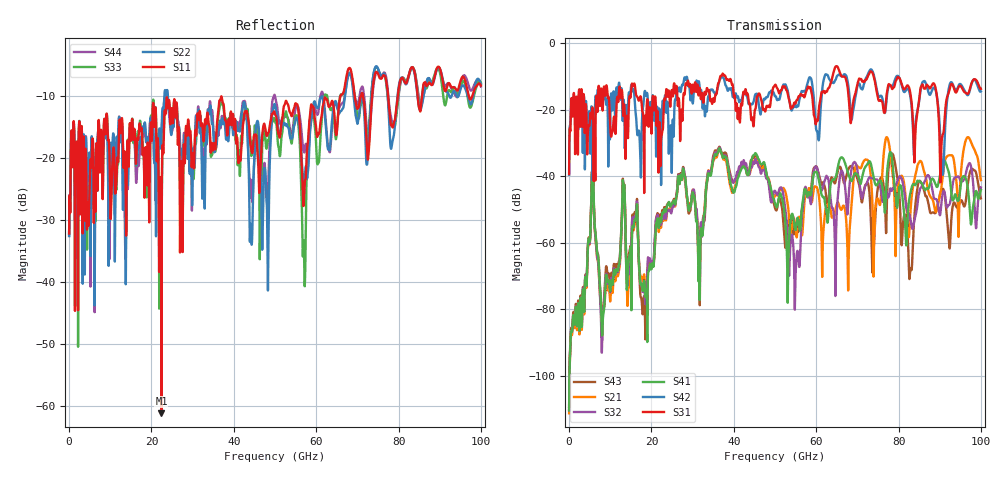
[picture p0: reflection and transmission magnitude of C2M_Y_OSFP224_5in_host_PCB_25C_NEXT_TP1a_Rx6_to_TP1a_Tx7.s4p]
# GHz S RI R 45
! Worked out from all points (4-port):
!   4000 points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, 25 MHz to 100 GHz, reference 45 ohm
!   strongest paths, dB at 25 MHz, 25.02 GHz, 50.02 GHz, 75.03 GHz, 100 GHz:
!     S31: -39.4, -14.3, -12.6, -16.6, -13.8
!     S42: -39.6, -29.2, -16.0, -15.6, -14.6
!     S41: -110.4, -48.3, -48.3, -42.1, -44.2
!     S32: -110.4, -49.7, -44.5, -41.4, -43.4
!     S21: -111.3, -49.6, -45.8, -46.9, -41.2
!     S43: -109.4, -48.1, -49.6, -43.2, -46.7
!   lowest |S11| = -61.1 dB at 22.43 GHz (marker M1), VSWR 1.00, Z = 45.1 + j0.03 ohm
!   |S11| at or under -10 dB: start of sweep to 65.91 GHz; 71.37 GHz to 73.59 GHz (2.22 GHz wide, 3.06 % of centre); 77.47 GHz to 79.82 GHz (2.352 GHz wide, 2.99 % of centre) (the widest 3 of 6)
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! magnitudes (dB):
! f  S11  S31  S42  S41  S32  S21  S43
! 25 MHz  -32.2  -39.4  -39.6  -110.4  -110.4  -111.3  -109.4
! 5.7 GHz  -16.9  -19.4  -41.3  -37.2  -37.2  -37.3  -37.1
! 8.2 GHz  -26.3  -19.8  -16.6  -83.3  -81.7  -80.4  -83.0
! 13.18 GHz  -21.1  -21.9  -18.2  -42.6  -42.7  -43.0  -42.4
! 18.27 GHz  -24.1  -36.0  -15.4  -71.5  -72.8  -69.7  -76.4
! 22.43 GHz  -61.1  -28.0  -32.2  -53.0  -53.9  -54.6  -52.1
! 100 GHz  -8.3  -13.8  -14.6  -44.2  -43.4  -41.2  -46.7
